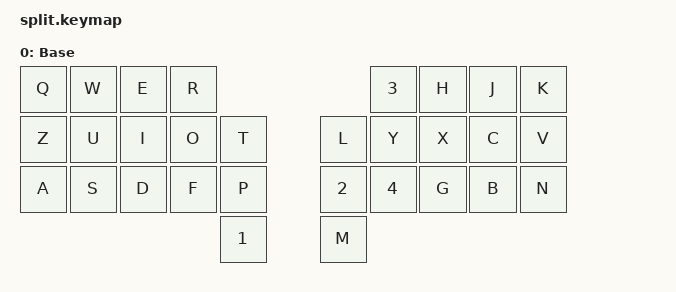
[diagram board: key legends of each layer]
#define ZMK_BEHAVIORS_OMIT_KT

#include <behaviors.dtsi>
#include <dt-bindings/zmk/keys.h>

/ {
    // Define a default keymap here.
    // See https://zmk.dev/docs/development/hardware-integration/new-shield#default-keymap.
    keymap {
        compatible = "zmk,keymap";

/*
*   | Q | W | F | P | B |        | M | J | L | U | Y |
*   | A | R | S | T | fn|        |fn | N | E | I | O |
*   | Z | X | C | G |spc|        |ret| D | V | K | H |
*/

        default_layer {
            display-name = "Base";
            bindings = <
            &kp Q    &kp W    &kp E    &kp R   &kp T             &kp Z    &kp U    &kp I    &kp O    &kp P
            &kp A    &kp S    &kp D    &kp F   &kp N1            &kp N3   &kp H    &kp J    &kp K    &kp L 
            &kp Y    &kp X    &kp C    &kp V   &kp N2            &kp N4   &kp G    &kp B    &kp N    &kp M
            >;
        }; /*
        layer1 {
            display-name = "Layer1";
            bindings = <
            &kp Q    &kp N7   &kp N8   &kp N9  &kp B             &kp M    &kp J    &kp L    &kp U    &studio_unlock
            &kp A    &kp N4   &kp N5   &kp N6  &trans            &trans   &kp N    &kp E    &kp I    &kp O 
            &kp N0   &kp N1   &kp N2   &kp N3  &trans            &trans   &kp D    &kp V    &kp K    &kp H
            >;
        };
        layer2 {
            display-name = "Layer2";
            bindings = <
            &kp Q    &kp W    &kp F    &kp P   &kp B             &kp M    &kp J    &kp L    &kp U    &kp Y
            &kp LSHFT &kp B    &kp C    &kp D   &trans            &trans   &kp N    &kp E    &kp I    &kp O 
            &kp LCTRL &kp LCMD &kp LALT &kp G   &trans            &trans   &kp D    &kp V    &kp K    &kp H
            >;
        }; /**/
    };
};
